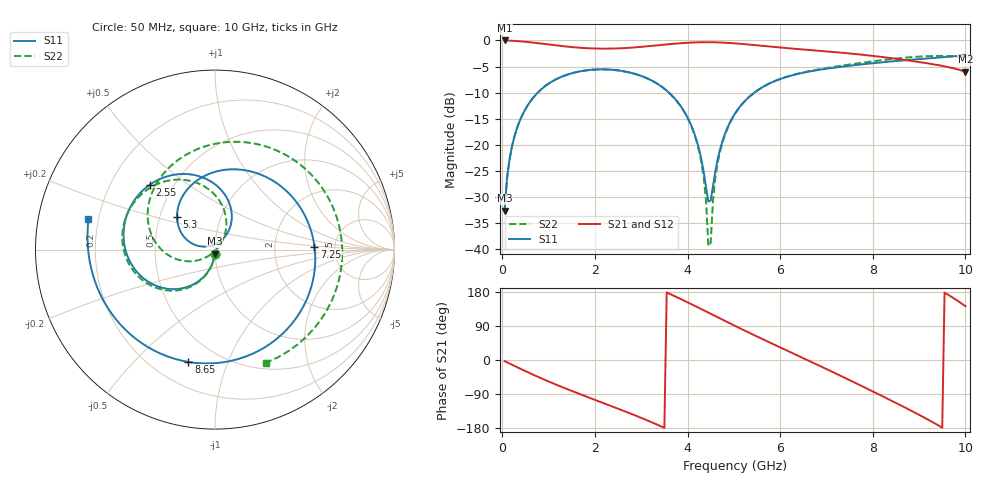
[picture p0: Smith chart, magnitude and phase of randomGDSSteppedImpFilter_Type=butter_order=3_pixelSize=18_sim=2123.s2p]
! freq	dB(S11)	phase(S11)	dB(S12)	phase(S12)
!  dB(S21)	phase(S21)	dB(S22)	phase(S22)
!S-par simulation data
#  GHz  S  DB  R 50
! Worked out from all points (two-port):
!   200 points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, 50 MHz to 10 GHz, reference 50 ohm
!   highest |S21| = -0.01 dB at 50 MHz (marker M1); lowest = -6.0 dB at 10 GHz (marker M2)
!   |S21| within 3 dB of the highest: start of sweep to 8.044 GHz
!   lowest |S11| = -32.6 dB at 50 MHz (marker M3), VSWR 1.05, Z = 49.8 - j2.32 ohm
!   |S11| at or under -10 dB: start of sweep to 766.4 MHz; 3.599 GHz to 5.441 GHz (1.843 GHz wide, 40.8 % of centre)
!   |S22| runs from -39.4 to -3.0 dB; largest |S21 - S12| = 0
!   S11 on the Smith chart (normalised r, x): 50 MHz: 1.00, -0.05; 2.55 GHz: 0.37, +0.36; 5.3 GHz: 0.61, +0.24; 7.25 GHz: 3.48, +0.16; 8.65 GHz: 0.34, -0.73; 10 GHz: 0.16, +0.12
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0.05  -32.64 -93.1  -0.01 -3.0  -0.01 -3.0  -32.64 -93.0
0.2  -20.69 -102.6  -0.06 -12.0  -0.06 -12.0  -20.69 -102.1
0.5  -13.16 -120.6  -0.26 -29.4  -0.26 -29.4  -13.16 -119.4
1.1  -7.73 -153.8  -0.88 -61.9  -0.88 -61.9  -7.73 -151.0
1.75  -5.82 173.7  -1.45 -93.5  -1.45 -93.5  -5.82 178.4
2.55  -5.81 135.3  -1.51 -130.7  -1.51 -130.7  -5.81 142.8
3.4  -8.60 91.6  -0.89 -173.6  -0.89 -173.6  -8.61 102.3
4.2  -19.27 52.8  -0.37 140.3  -0.37 140.3  -19.50 57.9
4.35  -25.24 58.2  -0.34 131.2  -0.34 131.2  -26.33 46.3
4.45  -30.86 94.0  -0.34 125.1  -0.34 125.1  -39.42 16.6
4.5  -30.69 129.1  -0.34 122.0  -0.34 122.0  -38.79 -103.3
4.55  -27.94 152.2  -0.35 119.0  -0.35 119.0  -30.60 -128.2
4.65  -22.82 166.5  -0.38 112.8  -0.38 112.8  -23.49 -139.5
5.05  -13.67 154.1  -0.58 88.6  -0.58 88.6  -13.74 -163.5
5.3  -11.06 139.1  -0.77 73.7  -0.77 73.7  -11.08 -176.4
6  -7.40 93.0  -1.36 33.3  -1.36 33.3  -7.38 151.2
6.7  -5.84 43.1  -1.89 -6.6  -1.89 -6.6  -5.75 122.4
7.25  -5.12 1.7  -2.29 -38.4  -2.29 -38.4  -4.94 100.6
8.35  -4.07 -81.6  -3.34 -104.1  -3.34 -104.1  -3.62 52.8
8.65  -3.83 -103.3  -3.69 -122.5  -3.69 -122.5  -3.35 37.4
9.45  -3.28 -158.2  -4.79 -174.9  -4.79 -174.9  -2.96 -13.1
10  -2.79 166.5  -6.02 142.0  -6.02 142.0  -3.21 -66.0
